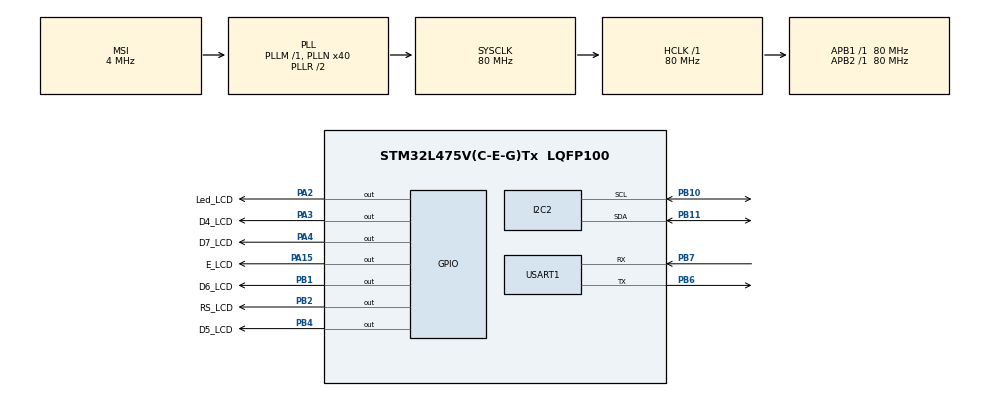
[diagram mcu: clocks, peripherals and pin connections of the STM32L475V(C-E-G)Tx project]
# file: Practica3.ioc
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I2C2.Timing=0x10D19CE4
Mcu.Family=STM32L4
Mcu.Name=STM32L475V(C-E-G)Tx
Mcu.Package=LQFP100
NVIC.PriorityGroup=NVIC_PRIORITYGROUP_4
NVIC.USART1_IRQn=true\:0\:0\:false\:false\:true\:true\:true\:true
PA15\ (JTDI).GPIO_Label=E_LCD
PA15\ (JTDI).Signal=GPIO_Output
PA2.GPIO_Label=Led_LCD
PA2.Signal=GPIO_Output
PA3.GPIO_Label=D4_LCD
PA3.Signal=GPIO_Output
PA4.GPIO_Label=D7_LCD
PA4.Signal=GPIO_Output
PB1.GPIO_Label=D6_LCD
PB1.Signal=GPIO_Output
PB10.Mode=I2C
PB10.Signal=I2C2_SCL
PB11.Mode=I2C
PB11.Signal=I2C2_SDA
PB2.GPIO_Label=RS_LCD
PB2.Signal=GPIO_Output
PB4\ (NJTRST).GPIO_Label=D5_LCD
PB4\ (NJTRST).Signal=GPIO_Output
PB6.Mode=Asynchronous
PB6.Signal=USART1_TX
PB7.Mode=Asynchronous
PB7.Signal=USART1_RX
ProjectManager.HeapSize=0x200
ProjectManager.StackSize=0x400
ProjectManager.TargetToolchain=STM32CubeIDE
RCC.AHBFreq_Value=80000000
RCC.APB1Freq_Value=80000000
RCC.APB1TimFreq_Value=80000000
RCC.APB2Freq_Value=80000000
RCC.APB2TimFreq_Value=80000000
RCC.CortexFreq_Value=80000000
RCC.HCLKFreq_Value=80000000
RCC.HSE_VALUE=8000000
RCC.HSI_VALUE=16000000
RCC.LSE_VALUE=32768
RCC.MSI_VALUE=4000000
RCC.PLLN=40
RCC.SYSCLKFreq_VALUE=80000000
RCC.SYSCLKSource=RCC_SYSCLKSOURCE_PLLCLK
RCC.VCOOutputFreq_Value=160000000
USART1.VirtualMode-Asynchronous=VM_ASYNC
board=custom

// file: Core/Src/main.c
/* USER CODE BEGIN Header */
/**
  ******************************************************************************
  * @file           : main.c
  * @brief          : Main program body
  ******************************************************************************
  * @attention
  *
  * Copyright (c) 2025 STMicroelectronics.
  * All rights reserved.
  *
  * This software is licensed under terms that can be found in the LICENSE file
  * in the root directory of this software component.
  * If no LICENSE file comes with this software, it is provided AS-IS.
  *
  ******************************************************************************
  */
/* USER CODE END Header */
#include "main.h"

/* USER CODE BEGIN Includes */
#include "hd44780.h"
#include "LPS22.h"
#include "HTS221.h"
/* USER CODE END Includes */

I2C_HandleTypeDef hi2c2;

UART_HandleTypeDef huart1;

void SystemClock_Config(void);
static void MX_GPIO_Init(void);
static void MX_I2C2_Init(void);
static void MX_USART1_UART_Init(void);
/* USER CODE BEGIN PFP */
void maximos(float T, float H, float P);
void minimos(float T, float H, float P);
void resetVG(float T, float P, float H);
/* USER CODE END PFP */

/* USER CODE BEGIN 0 */
uint8_t rxByte;
float minP;
float minT;
float minH;
float maxP;
float maxT;
float maxH;
int modo = 4;
int unidad = 0;
/* USER CODE END 0 */

int main(void)
{

  /* MCU Configuration--------------------------------------------------------*/

  /* Reset of all peripherals, Initializes the Flash interface and the Systick. */
  HAL_Init();

  /* Configure the system clock */
  SystemClock_Config();

  /* Initialize all configured peripherals */
  MX_GPIO_Init();
  MX_I2C2_Init();
  MX_USART1_UART_Init();
  /* USER CODE BEGIN 2 */

  lcd_reset();
  lcd_display_settings(1, 0, 0);
  lcd_clear();
  LPS22_Init();
  HTS221_Init();
  HAL_UART_Receive_IT(&huart1, &rxByte, 1);

//  lcd_print("Hola, funciono");

 THSample ths;
 ths = HTS221_Read();
 float press;
 press = LPS22_ReadPress();

 maxH = ths.hum;
 maxT = ths.temp;
 maxP = press;

 minH = ths.hum;
 minT = ths.temp;
 minP = press;

  /* USER CODE END 2 */

  /* Infinite loop */
  while (1)
  {

    /* USER CODE BEGIN 3 */
	uint8_t str[20];

	THSample ths;
	ths = HTS221_Read();
	float press;
	press = LPS22_ReadPress();

	maximos(ths.temp, ths.hum, press);
	minimos(ths.temp, ths.hum, press);

//	Fase 4

	if(modo == 0){
		if(unidad==0){
			sprintf(str, "Pres: %.1fhPA", maxP);
			moveToXY(0, 0);
			lcd_print(str);

			sprintf(str, "T:%.1fC H:%.1f\%%", maxT, maxH);
			moveToXY(1, 0);
			lcd_print(str);
			HAL_Delay(500);

			printf("Maximos - > Pres: %.1fhPA T:%.1fC H:%.1f%%\r\n", maxP, maxT, maxH);
		}else{
			sprintf(str, "Pres: %.1fmmHg", maxP*0.750);
			moveToXY(0, 0);
			lcd_print(str);

			sprintf(str, "T:%.1fF H:%.1f\%%", (maxT*9/5)+32, maxH);
			moveToXY(1, 0);
			lcd_print(str);
			HAL_Delay(500);

			printf("Maximos - > Pres: %.1fmmHg T:%.1fF H:%.1f%%\r\n", maxP*0.750, (maxT*9/5)+32, maxH);
		}
	}else if(modo == 1){
		if(unidad == 0){
			sprintf(str, "Pres: %.1fhPA", minP);
			moveToXY(0, 0);
			lcd_print(str);

			sprintf(str, "T:%.1fC H:%.1f\%%", minT, minH);
			moveToXY(1, 0);
			lcd_print(str);
			HAL_Delay(500);

			printf("Minimos - > Pres: %.1fhPA T:%.1fC H:%.1f%%\r\n", minP, minT, minH);
		}else{
			sprintf(str, "Pres: %.1fmmHg", minP*0.750);
			moveToXY(0, 0);
			lcd_print(str);

			sprintf(str, "T:%.1fF H:%.1f\%%", (minT*9/5)+32, minH);
			moveToXY(1, 0);
			lcd_print(str);
			HAL_Delay(500);

			printf("Minimos - > Pres: %.1fmmHg T:%.1fF H:%.1f%%\r\n", minP*0.750, (minT*9/5)+32, minH);
		}
	}else if(modo == 2){
		resetVG(ths.temp, press, ths.hum);
	}else{
		if(unidad == 0){
			sprintf(str, "Pres: %.1fhPA", press);
			moveToXY(0, 0);
			lcd_print(str);

			sprintf(str, "T:%.1fC H:%.1f\%%", ths.temp, ths.hum);
			moveToXY(1, 0);
			lcd_print(str);
			HAL_Delay(500);

			printf("Pres: %.1fhPA T:%.1fC H:%.1f%%\r\n", press, ths.temp, ths.hum);
		} else {
			sprintf(str, "Pres: %.1fmmHg", press*0.750);
			moveToXY(0, 0);
			lcd_print(str);

			sprintf(str, "T:%.1fC H:%.1f\%%", (ths.temp*9/5)+32, ths.hum);
			moveToXY(1, 0);
			lcd_print(str);
			HAL_Delay(500);

			printf("Pres: %.1fmmHg T:%.1fF H:%.1f%%\r\n", press*0.750, (ths.temp*9/5)+32, ths.hum);
		}
	}

	// Fase 2 y 3
//	sprintf(str, "Pres: %.1fhPA", press);
//	moveToXY(0, 0);
//	lcd_print(str);
//
//	sprintf(str, "T:%.1fC H:%.1f\%%", ths.temp, ths.hum);
//	moveToXY(1, 0);
//	lcd_print(str);
//	HAL_Delay(500);
//
//	printf("Pres: %.1fhPA T:%.1fC H:%.1f%%\r\n", press, ths.temp, ths.hum);

//	lcd_print("La presion es de:");
//	moveToXY(1, 0);
//	writeIntegerToLCD(press);
//	lcd_print("hPA");
//	HAL_Delay(5000);
//	lcd_clear();
//	lcd_print("La humedad es de:");
//	moveToXY(1, 0);
//	writeIntegerToLCD(ths.hum);
//	lcd_print("%");
//	HAL_Delay(5000);
//	lcd_clear();
//	lcd_print("La temperatura es de:");
//	moveToXY(1, 0);
//	writeIntegerToLCD(ths.temp);
//	lcd_print("C");
//	HAL_Delay(10000);
//	lcd_clear();
//	lcd_print("Borrando...");
//	HAL_Delay(400);
//	lcd_clear();
  }
  /* USER CODE END 3 */
}

void SystemClock_Config(void)
{
  RCC_OscInitTypeDef RCC_OscInitStruct = {0};
  RCC_ClkInitTypeDef RCC_ClkInitStruct = {0};

  /** Configure the main internal regulator output voltage
  */
  if (HAL_PWREx_ControlVoltageScaling(PWR_REGULATOR_VOLTAGE_SCALE1) != HAL_OK)
  {
    Error_Handler();
  }

  /** Initializes the RCC Oscillators according to the specified parameters
  * in the RCC_OscInitTypeDef structure.
  */
  RCC_OscInitStruct.OscillatorType = RCC_OSCILLATORTYPE_MSI;
  RCC_OscInitStruct.MSIState = RCC_MSI_ON;
  RCC_OscInitStruct.MSICalibrationValue = 0;
  RCC_OscInitStruct.MSIClockRange = RCC_MSIRANGE_6;
  RCC_OscInitStruct.PLL.PLLState = RCC_PLL_ON;
  RCC_OscInitStruct.PLL.PLLSource = RCC_PLLSOURCE_MSI;
  RCC_OscInitStruct.PLL.PLLM = 1;
  RCC_OscInitStruct.PLL.PLLN = 40;
  RCC_OscInitStruct.PLL.PLLP = RCC_PLLP_DIV7;
  RCC_OscInitStruct.PLL.PLLQ = RCC_PLLQ_DIV2;
  RCC_OscInitStruct.PLL.PLLR = RCC_PLLR_DIV2;
  if (HAL_RCC_OscConfig(&RCC_OscInitStruct) != HAL_OK)
  {
    Error_Handler();
  }

  /** Initializes the CPU, AHB and APB buses clocks
  */
  RCC_ClkInitStruct.ClockType = RCC_CLOCKTYPE_HCLK|RCC_CLOCKTYPE_SYSCLK
                              |RCC_CLOCKTYPE_PCLK1|RCC_CLOCKTYPE_PCLK2;
  RCC_ClkInitStruct.SYSCLKSource = RCC_SYSCLKSOURCE_PLLCLK;
  RCC_ClkInitStruct.AHBCLKDivider = RCC_SYSCLK_DIV1;
  RCC_ClkInitStruct.APB1CLKDivider = RCC_HCLK_DIV1;
  RCC_ClkInitStruct.APB2CLKDivider = RCC_HCLK_DIV1;

  if (HAL_RCC_ClockConfig(&RCC_ClkInitStruct, FLASH_LATENCY_4) != HAL_OK)
  {
    Error_Handler();
  }
}

static void MX_I2C2_Init(void)
{

  hi2c2.Instance = I2C2;
  hi2c2.Init.Timing = 0x10D19CE4;
  hi2c2.Init.OwnAddress1 = 0;
  hi2c2.Init.AddressingMode = I2C_ADDRESSINGMODE_7BIT;
  hi2c2.Init.DualAddressMode = I2C_DUALADDRESS_DISABLE;
  hi2c2.Init.OwnAddress2 = 0;
  hi2c2.Init.OwnAddress2Masks = I2C_OA2_NOMASK;
  hi2c2.Init.GeneralCallMode = I2C_GENERALCALL_DISABLE;
  hi2c2.Init.NoStretchMode = I2C_NOSTRETCH_DISABLE;
  if (HAL_I2C_Init(&hi2c2) != HAL_OK)
  {
    Error_Handler();
  }

  /** Configure Analogue filter
  */
  if (HAL_I2CEx_ConfigAnalogFilter(&hi2c2, I2C_ANALOGFILTER_ENABLE) != HAL_OK)
  {
    Error_Handler();
  }

  /** Configure Digital filter
  */
  if (HAL_I2CEx_ConfigDigitalFilter(&hi2c2, 0) != HAL_OK)
  {
    Error_Handler();
  }

}

static void MX_USART1_UART_Init(void)
{

  huart1.Instance = USART1;
  huart1.Init.BaudRate = 115200;
  huart1.Init.WordLength = UART_WORDLENGTH_8B;
  huart1.Init.StopBits = UART_STOPBITS_1;
  huart1.Init.Parity = UART_PARITY_NONE;
  huart1.Init.Mode = UART_MODE_TX_RX;
  huart1.Init.HwFlowCtl = UART_HWCONTROL_NONE;
  huart1.Init.OverSampling = UART_OVERSAMPLING_16;
  huart1.Init.OneBitSampling = UART_ONE_BIT_SAMPLE_DISABLE;
  huart1.AdvancedInit.AdvFeatureInit = UART_ADVFEATURE_NO_INIT;
  if (HAL_UART_Init(&huart1) != HAL_OK)
  {
    Error_Handler();
  }

}

static void MX_GPIO_Init(void)
{
  GPIO_InitTypeDef GPIO_InitStruct = {0};

  /* GPIO Ports Clock Enable */
  __HAL_RCC_GPIOA_CLK_ENABLE();
  __HAL_RCC_GPIOB_CLK_ENABLE();

  /*Configure GPIO pin Output Level */
  HAL_GPIO_WritePin(GPIOA, Led_LCD_Pin|D4_LCD_Pin|D7_LCD_Pin|E_LCD_Pin, GPIO_PIN_RESET);

  /*Configure GPIO pin Output Level */
  HAL_GPIO_WritePin(GPIOB, D6_LCD_Pin|RS_LCD_Pin|D5_LCD_Pin, GPIO_PIN_RESET);

  /*Configure GPIO pins : Led_LCD_Pin D4_LCD_Pin D7_LCD_Pin E_LCD_Pin */
  GPIO_InitStruct.Pin = Led_LCD_Pin|D4_LCD_Pin|D7_LCD_Pin|E_LCD_Pin;
  GPIO_InitStruct.Mode = GPIO_MODE_OUTPUT_PP;
  GPIO_InitStruct.Pull = GPIO_NOPULL;
  GPIO_InitStruct.Speed = GPIO_SPEED_FREQ_LOW;
  HAL_GPIO_Init(GPIOA, &GPIO_InitStruct);

  /*Configure GPIO pins : D6_LCD_Pin RS_LCD_Pin D5_LCD_Pin */
  GPIO_InitStruct.Pin = D6_LCD_Pin|RS_LCD_Pin|D5_LCD_Pin;
  GPIO_InitStruct.Mode = GPIO_MODE_OUTPUT_PP;
  GPIO_InitStruct.Pull = GPIO_NOPULL;
  GPIO_InitStruct.Speed = GPIO_SPEED_FREQ_LOW;
  HAL_GPIO_Init(GPIOB, &GPIO_InitStruct);

}

/* USER CODE BEGIN 4 */
int __io_putchar(int ch)
{
	  uint8_t c[1];
	  c[0] = ch & 0x00FF;
	  HAL_UART_Transmit(&huart1, &*c, 1, 10);
	  return ch;
}

void HAL_UART_RxCpltCallback(UART_HandleTypeDef *huart){
//1 - Procesar Dato
	if(rxByte == 'm'){
		modo = 0;
	} else if(rxByte == 'n'){
		modo = 1;
	} else if(rxByte == 'c'){
		modo = 2;
	} else if(rxByte == 'u'){
		if (unidad == 1){
			unidad = 0;
		}else{
			unidad = 1;
		}

	} else{
		modo = 4;
	}
//2 - Esperar siguiente dato
	HAL_UART_Receive_IT(&huart1, &rxByte, 1);
}

void maximos(float T, float H, float P){
	if(maxT< T){
		maxT = T;
	}
	if(maxH< H){
		maxH = H;
	}
	if(maxP< P){
		maxP = P;
	}
}

void minimos(float T, float H, float P){
	if(minT> T){
		minT = T;
	}
	if(minH> H){
		minH = H;
	}
	if(minP> P){
		minP = P;
	}
}

void resetVG(float T, float P, float H){
	minH = H;
	minP = P;
	minT = T;
	maxH = H;
	maxP = P;
	maxT = T;
}
/* USER CODE END 4 */

void Error_Handler(void)
{
  __disable_irq();
  while (1)
  {
  }
}
